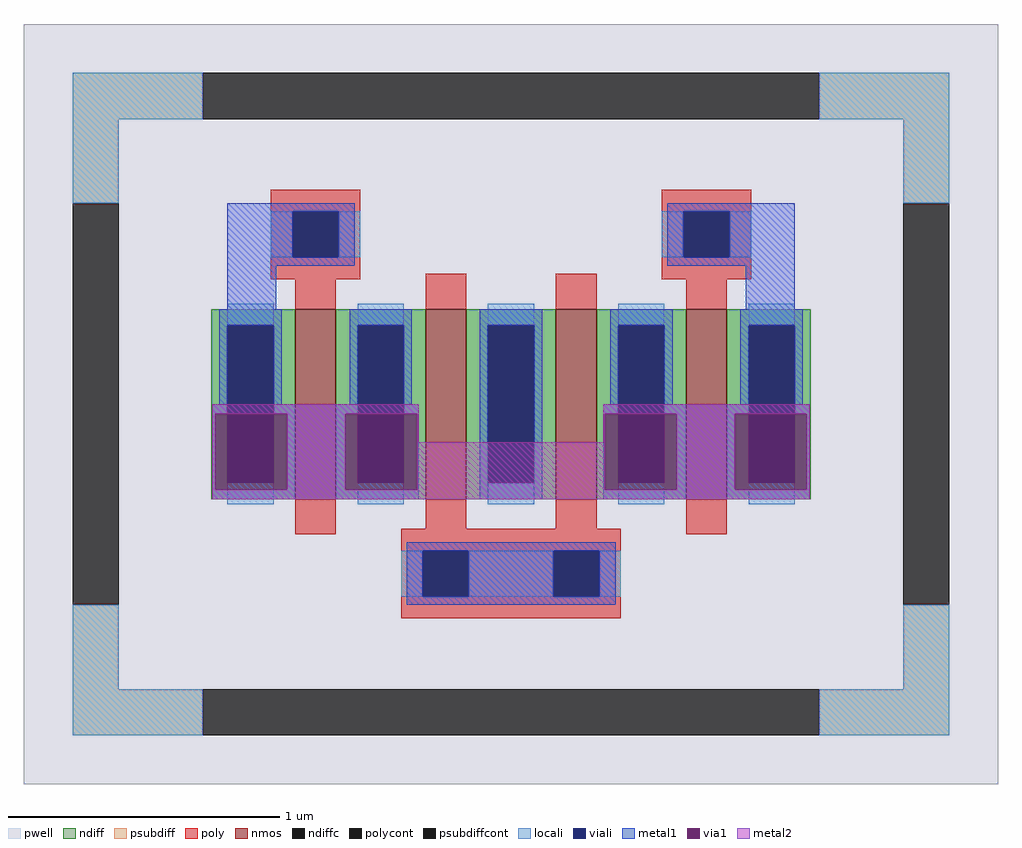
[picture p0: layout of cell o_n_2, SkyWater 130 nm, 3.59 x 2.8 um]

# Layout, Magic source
magic
tech sky130A
magscale 1 2
<< pwell >>
rect -359 -280 359 280
<< nmos >>
rect -159 -70 -129 70
rect -63 -70 -33 70
rect 33 -70 63 70
rect 129 -70 159 70
<< ndiff >>
rect -221 58 -159 70
rect -221 -58 -209 58
rect -175 -58 -159 58
rect -221 -70 -159 -58
rect -129 58 -63 70
rect -129 -58 -113 58
rect -79 -58 -63 58
rect -129 -70 -63 -58
rect -33 58 33 70
rect -33 -58 -17 58
rect 17 -58 33 58
rect -33 -70 33 -58
rect 63 58 129 70
rect 63 -58 79 58
rect 113 -58 129 58
rect 63 -70 129 -58
rect 159 58 221 70
rect 159 -58 175 58
rect 209 -58 221 58
rect 159 -70 221 -58
<< ndiffc >>
rect -209 -58 -175 58
rect -113 -58 -79 58
rect -17 -58 17 58
rect 79 -58 113 58
rect 175 -58 209 58
<< psubdiff >>
rect -323 210 -227 244
rect 227 210 323 244
rect -323 148 -289 210
rect 289 148 323 210
rect -323 -210 -289 -148
rect 289 -210 323 -148
rect -323 -244 -227 -210
rect 227 -244 323 -210
<< psubdiffcont >>
rect -227 210 227 244
rect -323 -148 -289 148
rect 289 -148 323 148
rect -227 -244 227 -210
<< poly >>
rect -177 142 -111 158
rect -177 108 -161 142
rect -127 108 -111 142
rect -177 92 -111 108
rect 111 142 177 158
rect 111 108 127 142
rect 161 108 177 142
rect -159 70 -129 92
rect -63 70 -33 96
rect 33 70 63 96
rect 111 92 177 108
rect 129 70 159 92
rect -159 -96 -129 -70
rect -63 -92 -33 -70
rect 33 -92 63 -70
rect -81 -108 81 -92
rect 129 -96 159 -70
rect -81 -142 -65 -108
rect -31 -142 31 -108
rect 65 -142 81 -108
rect -81 -158 81 -142
<< polycont >>
rect -161 108 -127 142
rect 127 108 161 142
rect -65 -142 -31 -108
rect 31 -142 65 -108
<< locali >>
rect -323 210 -227 244
rect 227 210 323 244
rect -323 148 -289 210
rect 289 148 323 210
rect -177 108 -161 142
rect -127 108 -111 142
rect 111 108 127 142
rect 161 108 177 142
rect -209 58 -175 74
rect -209 -74 -175 -58
rect -113 58 -79 74
rect -113 -74 -79 -58
rect -17 58 17 74
rect -17 -74 17 -58
rect 79 58 113 74
rect 79 -74 113 -58
rect 175 58 209 74
rect 175 -74 209 -58
rect -81 -142 -65 -108
rect -31 -142 31 -108
rect 65 -142 81 -108
rect -323 -210 -289 -148
rect 289 -210 323 -148
rect -323 -244 -227 -210
rect 227 -244 323 -210
<< viali >>
rect -161 108 -127 142
rect 127 108 161 142
rect -209 -58 -175 58
rect -113 -58 -79 58
rect -17 -58 17 58
rect 79 -58 113 58
rect 175 -58 209 58
rect -65 -142 -31 -108
rect 31 -142 65 -108
<< metal1 >>
rect -209 142 -115 148
rect -209 108 -161 142
rect -127 108 -115 142
rect -209 102 -115 108
rect 115 142 209 148
rect 115 108 127 142
rect 161 108 209 142
rect 115 102 209 108
rect -209 70 -173 102
rect 173 70 209 102
rect -215 58 -169 70
rect -215 0 -209 58
rect -220 -7 -209 0
rect -175 0 -169 58
rect -119 58 -73 70
rect -119 0 -113 58
rect -175 -7 -113 0
rect -79 0 -73 58
rect -23 58 23 70
rect -79 -7 -68 0
rect -220 -63 -218 -7
rect -165 -63 -122 -7
rect -69 -63 -68 -7
rect -220 -70 -68 -63
rect -23 -58 -17 58
rect 17 -58 23 58
rect 73 58 119 70
rect 73 0 79 58
rect -23 -70 23 -58
rect 68 -7 79 0
rect 113 0 119 58
rect 169 58 215 70
rect 169 0 175 58
rect 113 -7 175 0
rect 209 0 215 58
rect 209 -7 220 0
rect 68 -63 69 -7
rect 122 -63 165 -7
rect 218 -63 220 -7
rect 68 -70 220 -63
rect -77 -108 77 -102
rect -77 -142 -65 -108
rect -31 -142 31 -108
rect 65 -142 77 -108
rect -77 -148 77 -142
<< via1 >>
rect -218 -58 -209 -7
rect -209 -58 -175 -7
rect -175 -58 -165 -7
rect -218 -63 -165 -58
rect -122 -58 -113 -7
rect -113 -58 -79 -7
rect -79 -58 -69 -7
rect -122 -63 -69 -58
rect 69 -58 79 -7
rect 79 -58 113 -7
rect 113 -58 122 -7
rect 69 -63 122 -58
rect 165 -58 175 -7
rect 175 -58 209 -7
rect 209 -58 218 -7
rect 165 -63 218 -58
<< metal2 >>
rect -220 -7 -68 0
rect -220 -63 -218 -7
rect -165 -63 -122 -7
rect -69 -28 -68 -7
rect 68 -7 220 0
rect 68 -28 69 -7
rect -69 -63 69 -28
rect 122 -63 165 -7
rect 218 -63 220 -7
rect -220 -70 220 -63
<< properties >>
string FIXED_BBOX -306 -227 306 227
string gencell sky130_fd_pr__nfet_01v8
string library sky130
string parameters w 0.7 l 0.150 m 1 nf 4 diffcov 100 polycov 100 guard 1 glc 1 grc 1 gtc 1 gbc 1 tbcov 100 rlcov 100 topc 1 botc 1 poverlap 0 doverlap 1 lmin 0.15 wmin 0.42 compatible {sky130_fd_pr__nfet_01v8 sky130_fd_pr__nfet_01v8_lvt  sky130_fd_bs_flash__special_sonosfet_star  sky130_fd_pr__nfet_g5v0d10v5 sky130_fd_pr__nfet_05v0_nvt  sky130_fd_pr__nfet_03v3_nvt} full_metal 1 viasrc 100 viadrn 100 viagate 100 viagb 0 viagr 0 viagl 0 viagt 0
<< end >>
